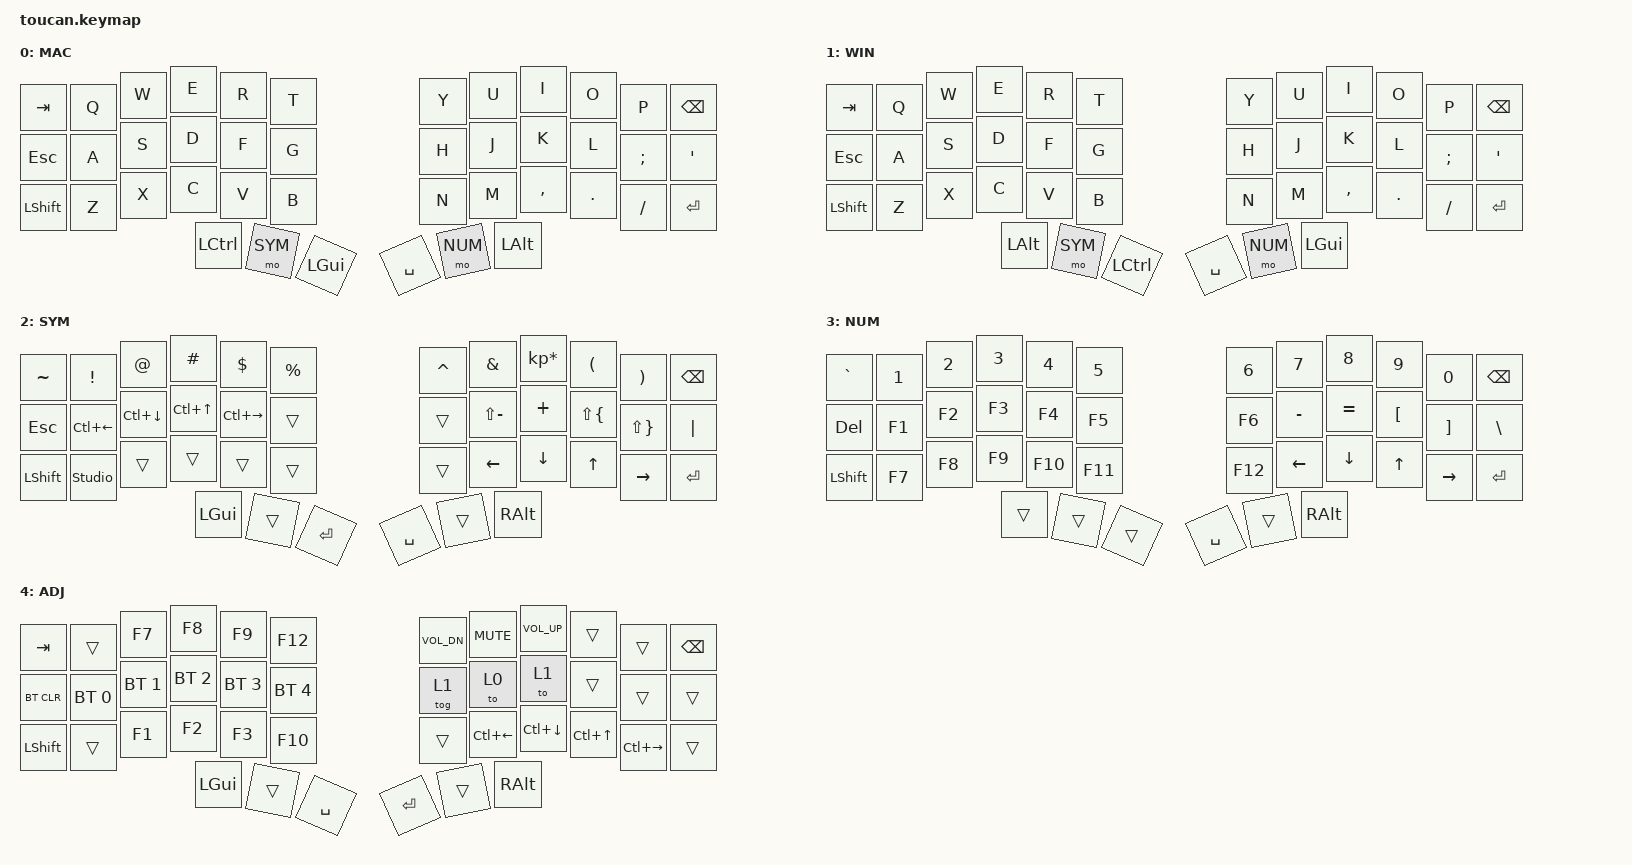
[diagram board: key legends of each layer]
#include <behaviors.dtsi>
#include <dt-bindings/zmk/keys.h>
#include <dt-bindings/zmk/bt.h>
#include <dt-bindings/zmk/outputs.h>

#define BASE 0
#define WIN  1
#define SYM  2
#define NUM  3
#define ADJ  4

/ {
    conditional_layers {
        compatible = "zmk,conditional-layers";
        tri_layer {
            if-layers = <SYM NUM>;
            then-layer = <ADJ>;
        };
    };

    keymap {
        compatible = "zmk,keymap";

        base {
            display-name = "MAC";
            bindings = <
                &kp TAB   &kp Q &kp W &kp E &kp R &kp T   &kp Y &kp U  &kp I     &kp O   &kp P    &kp BSPC
                &kp ESC   &kp A &kp S &kp D &kp F &kp G   &kp H &kp J  &kp K     &kp L   &kp SEMI &kp SQT
                &kp LSHFT &kp Z &kp X &kp C &kp V &kp B   &kp N &kp M  &kp COMMA &kp DOT &kp FSLH &kp ENTER
                               &kp LCTRL &mo SYM &kp LGUI   &kp SPC &mo NUM &kp LALT
            >;
        };

        win {
            display-name = "WIN";
            bindings = <
                &kp TAB   &kp Q &kp W &kp E &kp R &kp T   &kp Y &kp U  &kp I     &kp O   &kp P    &kp BSPC
                &kp ESC   &kp A &kp S &kp D &kp F &kp G   &kp H &kp J  &kp K     &kp L   &kp SEMI &kp SQT
                &kp LSHFT &kp Z &kp X &kp C &kp V &kp B   &kp N &kp M  &kp COMMA &kp DOT &kp FSLH &kp ENTER
                               &kp LALT &mo SYM &kp LCTRL   &kp SPC &mo NUM &kp LGUI
            >;
        };

        sym {
            display-name = "SYM";
            bindings = <
                &kp  TILDE   &kp EXCL  &kp AT  &kp HASH  &kp DLLR  &kp PRCNT    &kp CARET       &kp AMPS  &kp KP_MULTIPLY &kp LPAR  &kp RPAR  &kp BSPC
                &kp  ESC   &kp LC(LEFT) &kp LC(DOWN) &kp LC(UP) &kp LC(RIGHT)    &trans       &trans	      &kp LS(MINUS) &kp PLUS 	   &kp LS(LBRC) &kp LS(RBRC) &kp PIPE
                &kp  LSHFT &studio_unlock   &trans  &trans    &trans    &trans       &trans       &kp LEFT  &kp DOWN        &kp UP    &kp RIGHT &kp ENTER    
                                                &kp LGUI     &trans       &kp ENTER      &kp SPACE  &trans   &kp RALT
            >;
        };

        num {
            display-name = "NUM";
            bindings = <
                &kp GRAVE    &kp N1    &kp N2    &kp N3  &kp N4    &kp N5             &kp N6   &kp N7     &kp N8 	  &kp N9    &kp N0     &kp BSPC
                &kp DEL    &kp F1 	 &kp F2    &kp F3  &kp F4 	 &kp F5             &kp F6     &kp MINUS  &kp EQUAL &kp LBKT  &kp RBKT     &kp BSLH
                &kp LSHFT  &kp F7    &kp F8    &kp F9  &kp F10   &kp F11            &kp F12  &kp LEFT   &kp DOWN     &kp UP    &kp RIGHT  &kp ENTER
                                                    &trans &trans   &trans           &kp SPC   &trans     &kp RALT
            >;
        };

        adj {
            display-name = "ADJ";
            bindings = <
                &kp TAB   &trans &kp F7 &kp F8 &kp F9 &kp F12                                       &kp C_VOL_DN &kp C_MUTE   &kp C_VOL_UP &trans     &trans        &kp BSPC
                &bt BT_CLR  &bt BT_SEL 0  &bt BT_SEL 1 &bt BT_SEL 2 &bt BT_SEL 3 &bt BT_SEL 4       &tog 1       &to 0        &to 1        &trans     &trans        &trans
                &kp LSHFT &trans &kp F1 &kp F2 &kp F3 &kp F10                                       &trans       &kp LC(LEFT) &kp LC(DOWN) &kp LC(UP) &kp LC(RIGHT) &trans
                                                        &kp LGUI &trans &kp SPACE            &kp RET &trans &kp RALT
            >;
        };

        extra_1 {
                status = "reserved";
        };

        extra_2 {
                status = "reserved";
        };
    };
};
